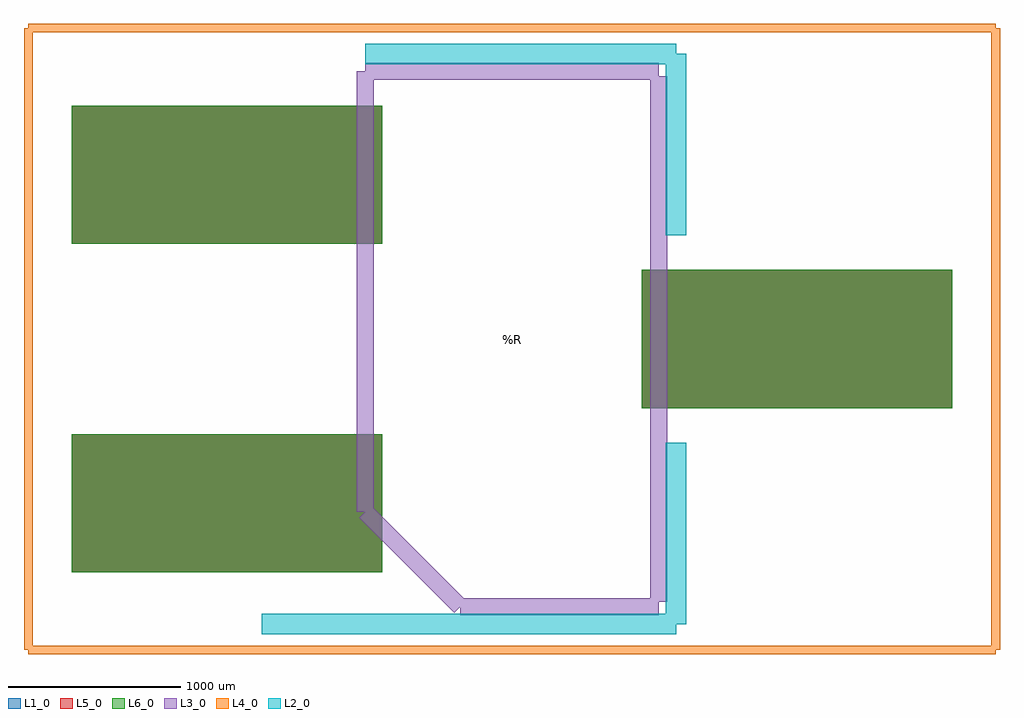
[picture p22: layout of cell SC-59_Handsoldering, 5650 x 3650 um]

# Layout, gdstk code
import gdstk
lib = gdstk.Library(unit=1e-6, precision=1e-09)
def R(c, l, rs):  # rectangles x0, y0, x1, y1
    for r in rs: c.add(gdstk.rectangle(r[:2], r[2:], *l))
L1_0 = (1, 0)
L2_0 = (2, 0)
L3_0 = (3, 0)
L4_0 = (4, 0)
L5_0 = (5, 0)
L6_0 = (6, 0)

sc_59_handsoldering = lib.new_cell('SC-59_Handsoldering')
R(sc_59_handsoldering, L1_0, [(-2550,-1350,-750,-550), (750,-400,2550,400), (-2550,550,-750,1350)])
R(sc_59_handsoldering, L5_0, [(-2550,-1350,-750,-550), (750,-400,2550,400), (-2550,550,-750,1350)])
R(sc_59_handsoldering, L6_0, [(-2550,-1350,-750,-550), (750,-400,2550,400), (-2550,550,-750,1350)])
sc_59_handsoldering.add(gdstk.FlexPath([(-850,1550),(-850,-1000)], 100, ends="flush", simple_path=True, layer=3, datatype=0))  # L3_0
sc_59_handsoldering.add(gdstk.FlexPath([(-1450,-1650),(950,-1650)], 120, ends="flush", simple_path=True, layer=2, datatype=0))  # L2_0
sc_59_handsoldering.add(gdstk.FlexPath([(950,-1650),(950,-600)], 120, ends="flush", simple_path=True, layer=2, datatype=0))  # L2_0
sc_59_handsoldering.add(gdstk.FlexPath([(-850,1650),(950,1650)], 120, ends="flush", simple_path=True, layer=2, datatype=0))  # L2_0
sc_59_handsoldering.add(gdstk.FlexPath([(950,1650),(950,600)], 120, ends="flush", simple_path=True, layer=2, datatype=0))  # L2_0
sc_59_handsoldering.add(gdstk.FlexPath([(-850,1550),(850,1550)], 100, ends="flush", simple_path=True, layer=3, datatype=0))  # L3_0
sc_59_handsoldering.add(gdstk.FlexPath([(-300,-1550),(-850,-1000)], 100, ends="flush", simple_path=True, layer=3, datatype=0))  # L3_0
sc_59_handsoldering.add(gdstk.FlexPath([(-300,-1550),(850,-1550)], 100, ends="flush", simple_path=True, layer=3, datatype=0))  # L3_0
sc_59_handsoldering.add(gdstk.FlexPath([(850,-1520),(850,1520)], 100, ends="flush", simple_path=True, layer=3, datatype=0))  # L3_0
sc_59_handsoldering.add(gdstk.FlexPath([(-2800,-1800),(2800,-1800)], 50, ends="flush", simple_path=True, layer=4, datatype=0))  # L4_0
sc_59_handsoldering.add(gdstk.FlexPath([(-2800,-1800),(-2800,1800)], 50, ends="flush", simple_path=True, layer=4, datatype=0))  # L4_0
sc_59_handsoldering.add(gdstk.FlexPath([(2800,1800),(2800,-1800)], 50, ends="flush", simple_path=True, layer=4, datatype=0))  # L4_0
sc_59_handsoldering.add(gdstk.FlexPath([(2800,1800),(-2800,1800)], 50, ends="flush", simple_path=True, layer=4, datatype=0))  # L4_0
sc_59_handsoldering.add(gdstk.Label('REF**', (0,-2500), layer=2, texttype=0))
sc_59_handsoldering.add(gdstk.Label('SC-59_Handsoldering', (0,2500), layer=3, texttype=0))
sc_59_handsoldering.add(gdstk.Label('%R', (0,0), layer=3, texttype=0))

lib.write_gds('SC-59_Handsoldering.gds')
